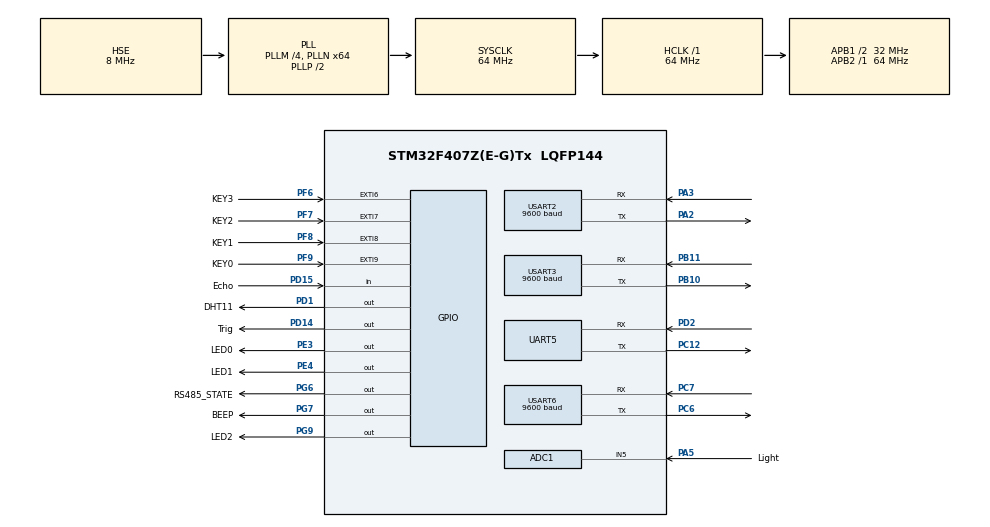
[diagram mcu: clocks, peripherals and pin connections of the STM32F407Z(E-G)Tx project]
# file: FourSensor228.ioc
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ADC1.Channel-0\#ChannelRegularConversion=ADC_CHANNEL_5
ADC1.NbrOfConversionFlag=1
ADC1.Rank-0\#ChannelRegularConversion=1
ADC1.SamplingTime-0\#ChannelRegularConversion=ADC_SAMPLETIME_3CYCLES
ADC1.master=1
FREERTOS.Tasks01=MainTask,-2,256,StartMainTask,Default,NULL,Dynamic,NULL,NULL;DHT11Task,0,512,StartDHT11Task,Default,NULL,Dynamic,NULL,NULL;SonicTask,-1,256,StartSonicTask,Default,NULL,Dynamic,NULL,NULL
Mcu.Family=STM32F4
Mcu.Name=STM32F407Z(E-G)Tx
Mcu.Package=LQFP144
NVIC.ADC_IRQn=true\:5\:0\:false\:false\:true\:true\:true\:true
NVIC.EXTI9_5_IRQn=true\:5\:0\:false\:false\:true\:false\:true\:true
NVIC.PriorityGroup=NVIC_PRIORITYGROUP_4
NVIC.UART5_IRQn=true\:5\:0\:false\:false\:true\:true\:true\:true
NVIC.USART2_IRQn=true\:5\:0\:false\:false\:true\:true\:true\:true
NVIC.USART3_IRQn=true\:5\:0\:false\:false\:true\:true\:true\:true
NVIC.USART6_IRQn=true\:5\:0\:false\:false\:true\:true\:true\:true
PA2.Mode=Asynchronous
PA2.Signal=USART2_TX
PA3.Mode=Asynchronous
PA3.Signal=USART2_RX
PA5.GPIO_Label=Light
PA5.Signal=ADCx_IN5
PB10.Mode=Asynchronous
PB10.Signal=USART3_TX
PB11.Mode=Asynchronous
PB11.Signal=USART3_RX
PC12.Mode=Asynchronous
PC12.Signal=UART5_TX
PC6.Mode=Asynchronous
PC6.Signal=USART6_TX
PC7.Mode=Asynchronous
PC7.Signal=USART6_RX
PD1.GPIO_Label=DHT11
PD1.PinState=GPIO_PIN_SET
PD1.Signal=GPIO_Output
PD14.GPIO_Label=Trig
PD14.Signal=GPIO_Output
PD15.GPIO_Label=Echo
PD15.Signal=GPIO_Input
PD2.Mode=Asynchronous
PD2.Signal=UART5_RX
PE3.GPIO_Label=LED0
PE3.PinState=GPIO_PIN_SET
PE3.Signal=GPIO_Output
PE4.GPIO_Label=LED1
PE4.PinState=GPIO_PIN_SET
PE4.Signal=GPIO_Output
PF6.GPIO_Label=KEY3
PF6.GPIO_ModeDefaultEXTI=GPIO_MODE_IT_FALLING
PF6.GPIO_PuPd=GPIO_PULLUP
PF6.Signal=GPXTI6
PF7.GPIO_Label=KEY2
PF7.GPIO_ModeDefaultEXTI=GPIO_MODE_IT_FALLING
PF7.GPIO_PuPd=GPIO_PULLUP
PF7.Signal=GPXTI7
PF8.GPIO_Label=KEY1
PF8.GPIO_ModeDefaultEXTI=GPIO_MODE_IT_FALLING
PF8.GPIO_PuPd=GPIO_PULLUP
PF8.Signal=GPXTI8
PF9.GPIO_Label=KEY0
PF9.GPIO_ModeDefaultEXTI=GPIO_MODE_IT_FALLING
PF9.GPIO_PuPd=GPIO_PULLUP
PF9.Signal=GPXTI9
PG6.GPIO_Label=RS485_STATE
PG6.Signal=GPIO_Output
PG7.GPIO_Label=BEEP
PG7.Signal=GPIO_Output
PG9.GPIO_Label=LED2
PG9.PinState=GPIO_PIN_SET
PG9.Signal=GPIO_Output
PH0-OSC_IN.Mode=HSE-External-Oscillator
PH0-OSC_IN.Signal=RCC_OSC_IN
PH1-OSC_OUT.Mode=HSE-External-Oscillator
PH1-OSC_OUT.Signal=RCC_OSC_OUT
ProjectManager.HeapSize=0x200
ProjectManager.StackSize=0x400
ProjectManager.TargetToolchain=MDK-ARM V5.27
RCC.48MHZClocksFreq_Value=32000000
RCC.AHBFreq_Value=64000000
RCC.APB1CLKDivider=RCC_HCLK_DIV2
RCC.APB1Freq_Value=32000000
RCC.APB1TimFreq_Value=64000000
RCC.APB2Freq_Value=64000000
RCC.APB2TimFreq_Value=64000000
RCC.CortexFreq_Value=64000000
RCC.HCLKFreq_Value=64000000
RCC.HSE_VALUE=8000000
RCC.HSI_VALUE=16000000
RCC.LSE_VALUE=32768
RCC.PLLM=4
RCC.PLLN=64
RCC.PLLSourceVirtual=RCC_PLLSOURCE_HSE
RCC.SYSCLKFreq_VALUE=64000000
RCC.SYSCLKSource=RCC_SYSCLKSOURCE_PLLCLK
RCC.VCOOutputFreq_Value=128000000
SH.ADCx_IN5.0=ADC1_IN5,IN5
TIM6.Prescaler=63
UART5.VirtualMode=Asynchronous
USART2.BaudRate=9600
USART2.VirtualMode=VM_ASYNC
USART3.BaudRate=9600
USART3.VirtualMode=VM_ASYNC
USART6.BaudRate=9600
USART6.VirtualMode=VM_ASYNC
VP_FREERTOS_VS_CMSIS_V1.Mode=CMSIS_V1
VP_TIM6_VS_ClockSourceINT.Mode=Enable_Timer
board=custom

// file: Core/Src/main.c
/* USER CODE BEGIN Header */
/**
  ******************************************************************************
  * @file           : main.c
  * @brief          : Main program body
  ******************************************************************************
  * @attention
  *
  * <h2><center>&copy; Copyright (c) 2021 STMicroelectronics.
  * All rights reserved.</center></h2>
  *
  * This software component is licensed by ST under Ultimate Liberty license
  * SLA0044, the "License"; You may not use this file except in compliance with
  * the License. You may obtain a copy of the License at:
  *                             www.st.com/SLA0044
  *
  ******************************************************************************
  */
/* USER CODE END Header */
#include "main.h"
#include "cmsis_os.h"
#include "adc.h"
#include "tim.h"
#include "usart.h"
#include "gpio.h"

/* USER CODE BEGIN Includes */
#include "RS485.h"
#include "cc2530.h"

extern uint8_t rxBuffer;
extern uint8_t cc2530_rxBuffer;
/* USER CODE END Includes */

void SystemClock_Config(void);
void MX_FREERTOS_Init(void);

int main(void)
{

  /* MCU Configuration--------------------------------------------------------*/

  /* Reset of all peripherals, Initializes the Flash interface and the Systick. */
  HAL_Init();

  /* Configure the system clock */
  SystemClock_Config();

  /* Initialize all configured peripherals */
  MX_GPIO_Init();
  MX_ADC1_Init();
  MX_TIM6_Init();
  MX_UART5_Init();
  MX_USART2_UART_Init();
  MX_USART3_UART_Init();
  MX_USART6_UART_Init();
  /* USER CODE BEGIN 2 */

  blue_Init();
  HAL_UART_Receive_IT(&blueUsart,&rxBuffer,1);
  HAL_UART_Receive_IT(&cc2530Usart,&cc2530_rxBuffer,1);

  /* USER CODE END 2 */

  /* Call init function for freertos objects (in freertos.c) */
  MX_FREERTOS_Init();
  /* Start scheduler */
  osKernelStart();

  /* We should never get here as control is now taken by the scheduler */
  /* Infinite loop */
  while (1)
  {

  }
}

void SystemClock_Config(void)
{
  RCC_OscInitTypeDef RCC_OscInitStruct = {0};
  RCC_ClkInitTypeDef RCC_ClkInitStruct = {0};

  /** Configure the main internal regulator output voltage
  */
  __HAL_RCC_PWR_CLK_ENABLE();
  __HAL_PWR_VOLTAGESCALING_CONFIG(PWR_REGULATOR_VOLTAGE_SCALE1);
  /** Initializes the RCC Oscillators according to the specified parameters
  * in the RCC_OscInitTypeDef structure.
  */
  RCC_OscInitStruct.OscillatorType = RCC_OSCILLATORTYPE_HSE;
  RCC_OscInitStruct.HSEState = RCC_HSE_ON;
  RCC_OscInitStruct.PLL.PLLState = RCC_PLL_ON;
  RCC_OscInitStruct.PLL.PLLSource = RCC_PLLSOURCE_HSE;
  RCC_OscInitStruct.PLL.PLLM = 4;
  RCC_OscInitStruct.PLL.PLLN = 64;
  RCC_OscInitStruct.PLL.PLLP = RCC_PLLP_DIV2;
  RCC_OscInitStruct.PLL.PLLQ = 4;
  if (HAL_RCC_OscConfig(&RCC_OscInitStruct) != HAL_OK)
  {
    Error_Handler();
  }
  /** Initializes the CPU, AHB and APB buses clocks
  */
  RCC_ClkInitStruct.ClockType = RCC_CLOCKTYPE_HCLK|RCC_CLOCKTYPE_SYSCLK
                              |RCC_CLOCKTYPE_PCLK1|RCC_CLOCKTYPE_PCLK2;
  RCC_ClkInitStruct.SYSCLKSource = RCC_SYSCLKSOURCE_PLLCLK;
  RCC_ClkInitStruct.AHBCLKDivider = RCC_SYSCLK_DIV1;
  RCC_ClkInitStruct.APB1CLKDivider = RCC_HCLK_DIV2;
  RCC_ClkInitStruct.APB2CLKDivider = RCC_HCLK_DIV1;

  if (HAL_RCC_ClockConfig(&RCC_ClkInitStruct, FLASH_LATENCY_2) != HAL_OK)
  {
    Error_Handler();
  }
}

void Error_Handler(void)
{
  __disable_irq();
  while (1)
  {
  }
}

/************************ (C) COPYRIGHT STMicroelectronics *****END OF FILE****/

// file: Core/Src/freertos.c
/* USER CODE BEGIN Header */
/**
  ******************************************************************************
  * File Name          : freertos.c
  * Description        : Code for freertos applications
  ******************************************************************************
  * @attention
  *
  * <h2><center>&copy; Copyright (c) 2021 STMicroelectronics.
  * All rights reserved.</center></h2>
  *
  * This software component is licensed by ST under Ultimate Liberty license
  * SLA0044, the "License"; You may not use this file except in compliance with
  * the License. You may obtain a copy of the License at:
  *                             www.st.com/SLA0044
  *
  ******************************************************************************
  */
/* USER CODE END Header */

#include "FreeRTOS.h"
#include "task.h"
#include "main.h"
#include "cmsis_os.h"

/* USER CODE BEGIN Includes */
#include "usart.h"
#include "dht11.h"
#include "blue.h"
#include "light.h"
#include "hr04.h"
#include "RS485.h"
#include "cc2530.h"

extern uint8_t RS485_receive_str[];
extern int key_value;
extern char rxBuff[];

char DHT11_buffer[128];
char blue_sendmsg[32];
char sendmsg1[32];
char cc2530_receivemsg[32];
char receicemsg1[32]={0};
char receicemsg2[32]={0};
double distance;

DHT11_Data_TypeDef DHT11_Data;

/* USER CODE END Includes */

osThreadId MainTaskHandle;
osThreadId DHT11TaskHandle;
osThreadId SonicTaskHandle;

void StartMainTask(void const * argument);
void StartDHT11Task(void const * argument);
void StartSonicTask(void const * argument);

void MX_FREERTOS_Init(void); /* (MISRA C 2004 rule 8.1) */

/* GetIdleTaskMemory prototype (linked to static allocation support) */
void vApplicationGetIdleTaskMemory( StaticTask_t **ppxIdleTaskTCBBuffer, StackType_t **ppxIdleTaskStackBuffer, uint32_t *pulIdleTaskStackSize );

/* USER CODE BEGIN GET_IDLE_TASK_MEMORY */
static StaticTask_t xIdleTaskTCBBuffer;
static StackType_t xIdleStack[configMINIMAL_STACK_SIZE];

void vApplicationGetIdleTaskMemory( StaticTask_t **ppxIdleTaskTCBBuffer, StackType_t **ppxIdleTaskStackBuffer, uint32_t *pulIdleTaskStackSize )
{
  *ppxIdleTaskTCBBuffer = &xIdleTaskTCBBuffer;
  *ppxIdleTaskStackBuffer = &xIdleStack[0];
  *pulIdleTaskStackSize = configMINIMAL_STACK_SIZE;
  /* place for user code */
}
/* USER CODE END GET_IDLE_TASK_MEMORY */

void MX_FREERTOS_Init(void) {

  /* Create the thread(s) */
  /* definition and creation of MainTask */
  osThreadDef(MainTask, StartMainTask, osPriorityLow, 0, 256);
  MainTaskHandle = osThreadCreate(osThread(MainTask), NULL);

  /* definition and creation of DHT11Task */
  osThreadDef(DHT11Task, StartDHT11Task, osPriorityNormal, 0, 512);
  DHT11TaskHandle = osThreadCreate(osThread(DHT11Task), NULL);

  /* definition and creation of SonicTask */
  osThreadDef(SonicTask, StartSonicTask, osPriorityBelowNormal, 0, 256);
  SonicTaskHandle = osThreadCreate(osThread(SonicTask), NULL);

}

void StartMainTask(void const * argument)
{
  /* USER CODE BEGIN StartMainTask */

	/* Infinite loop */
  for(;;)
  {
      osDelay(1799);
	  switch(key_value)
	  {
		  case 0:
		  {
			  osThreadResume(DHT11TaskHandle);
			  key_value=-1;
			  break;
		  }
		  case 1:
		  {
			  osThreadSuspend(DHT11TaskHandle);
			  key_value=-1;
			  break;
		  }
		  case 2:
		  {
			  osThreadResume(SonicTaskHandle);
			  key_value=-1;
			  break;
		  }
		  case 3:
		  {
			  osThreadSuspend(SonicTaskHandle);
			  key_value=-1;
			  break;
		  }
	  }
	  printf("blutooth接收到的数据为：%s\r\n",rxBuff);
	  if(strcmp("OLED",rxBuff)==0)
	  {
		  LED2_ON();
		  cc2530_sendMessage("OL");
	  }else if(strcmp("CLED",rxBuff)==0)
	  {
		  LED2_OFF();
		  cc2530_sendMessage("CL");
	  }else if(strcmp("OBEEP",rxBuff)==0)
	  {
		  BEEP_ON();
		  cc2530_sendMessage("OB");
	  }else if(strcmp("CBEEP",rxBuff)==0)
	  {
		  BEEP_OFF();
		  cc2530_sendMessage("CB");
	  }

	  cc2530_getMessage(cc2530_receivemsg);

	  if(strlen(cc2530_receivemsg)==2)
	  {
		  if(strcmp("OL",cc2530_receivemsg)==0)
		  {
			  LED2_ON();

		  }else if(strcmp("CL",cc2530_receivemsg)==0)
		  {
			  LED2_OFF();
		  }else if(strcmp("OB",cc2530_receivemsg)==0)
		  {
			  BEEP_ON();
		  }else if(strcmp("CB",cc2530_receivemsg)==0)
		  {
			  BEEP_OFF();
		  }
	  }else {
		   if(strlen(cc2530_receivemsg)==5)
			  sprintf(receicemsg2,"%s",cc2530_receivemsg);
		  else sprintf(receicemsg1,"%s",cc2530_receivemsg);

		  sprintf(blue_sendmsg,"#,%s,%s,$",receicemsg1,receicemsg2);
		  blue_send(blue_sendmsg);
		  printf("message is%s\r\n",blue_sendmsg);
	  }
	        memset(rxBuff,0,500);
  }
  /* USER CODE END StartMainTask */
}

void StartDHT11Task(void const * argument)
{
  /* USER CODE BEGIN StartDHT11Task */
	osThreadSuspend(DHT11TaskHandle);
  /* Infinite loop */
  for(;;)
  {
	  osDelay(1977);
	if(DHT11_Read_TempAndHumidity(&DHT11_Data)==SUCCESS)
    {
       sprintf(DHT11_buffer,"%.0f,%.0f",DHT11_Data.humidity,DHT11_Data.temperature);
		printf("%s",DHT11_buffer);
	   cc2530_sendMessage(DHT11_buffer);
	}
  }
  /* USER CODE END StartDHT11Task */
}

void StartSonicTask(void const * argument)
{
  /* USER CODE BEGIN StartSonicTask */
	osThreadSuspend(SonicTaskHandle);
  /* Infinite loop */
  for(;;)
  {
    distance=Hcsr04_StateRead();
	osDelay(77);
    sprintf(sendmsg1,"%.0f,%d",distance,get_light());
    printf("%s",sendmsg1);
    osDelay(77);
    cc2530_sendMessage(sendmsg1);
    osDelay(1777);
  }
  /* USER CODE END StartSonicTask */
}

/************************ (C) COPYRIGHT STMicroelectronics *****END OF FILE****/
